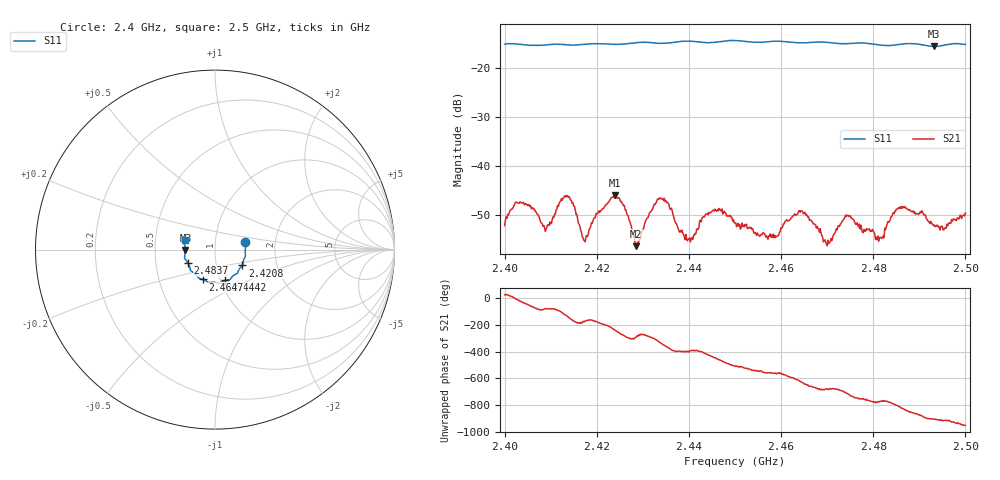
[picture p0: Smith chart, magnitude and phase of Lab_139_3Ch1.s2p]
# Hz S RI R 50
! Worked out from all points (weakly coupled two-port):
!   601 points, 2.4 GHz to 2.5 GHz, reference 50 ohm
!   highest |S21| = -45.99 dB at 2.424 GHz (marker M1); lowest = -56.4 dB at 2.4285 GHz (marker M2)
!   lowest |S11| = -15.7 dB at 2.4932 GHz (marker M3), VSWR 1.39, Z = 35.8 - j0.116 ohm
!   |S11| at or under -10 dB: start of sweep to end of sweep
!   S12 and S22 are empty: the file has one direction only
!   S11 on the Smith chart (normalised r, x): 2.4 GHz: 1.40, +0.12; 2.4208 GHz: 1.33, -0.24; 2.4442 GHz: 1.05, -0.37; 2.4647 GHz: 0.83, -0.28; 2.4837 GHz: 0.73, -0.11; 2.5 GHz: 0.71, +0.08
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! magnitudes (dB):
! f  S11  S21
! 2.4 GHz  -15.2  -52.2
! 2.4037 GHz  -15.3  -47.6
! 2.4092 GHz  -15.4  -52.5
! 2.4135 GHz  -15.3  -46.1
! 2.4167 GHz  -15.3  -53.6
! 2.4208 GHz  -15.1  -49.2
! 2.424 GHz  -15.2  -46.0
! 2.4285 GHz  -14.9  -56.4
! 2.4333 GHz  -15.0  -46.7
! 2.44 GHz  -14.6  -55.0
! 2.4442 GHz  -14.9  -50.0
! 2.45 GHz  -14.5  -51.6
! 2.459 GHz  -14.6  -54.4
! 2.4647 GHz  -14.9  -49.3
! 2.4667 GHz  -14.8  -51.4
! 2.4702 GHz  -14.9  -55.2
! 2.4743 GHz  -15.1  -50.1
! 2.481 GHz  -15.3  -54.3
! 2.4833 GHz  -15.5  -51.5
! 2.4837 GHz  -15.5  -51.1
! 2.4932 GHz  -15.7  -52.0
! 2.5 GHz  -15.3  -49.6
